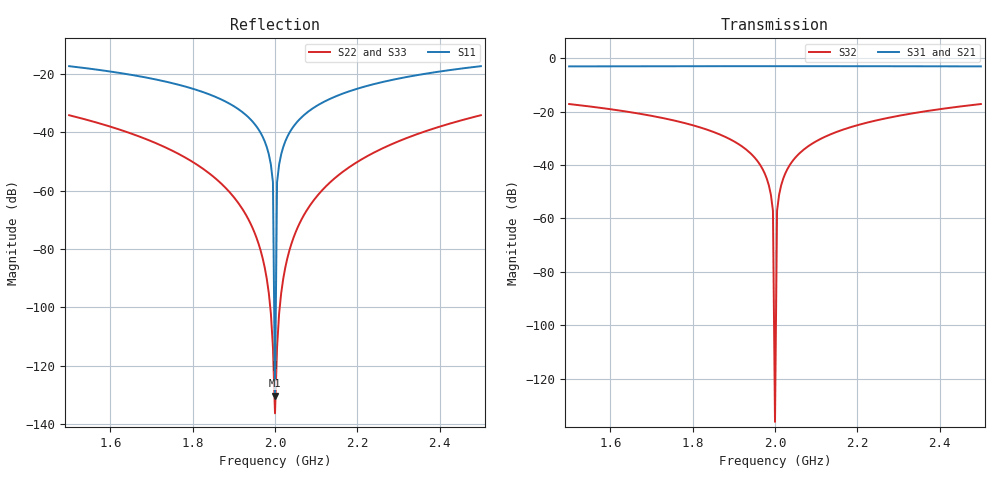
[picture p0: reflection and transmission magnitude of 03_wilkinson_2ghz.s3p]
! 03_wilkinson_2ghz
! 由 Base_AWR 中文版 · OpenRF Studio 生成（干净室实现）
# Hz S MA R 50
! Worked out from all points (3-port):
!   201 points, 1.5 GHz to 2.5 GHz, reference 50 ohm
!   strongest paths, dB at 1.5 GHz, 1.75 GHz, 2 GHz, 2.25 GHz, 2.5 GHz:
!     S31: -3.1, -3.0, -3.0, -3.0, -3.1
!     S21: -3.1, -3.0, -3.0, -3.0, -3.1
!     S32: -17.2, -23.2, -136.2, -23.2, -17.2
!   lowest |S11| = -130.2 dB at 2 GHz (marker M1), VSWR 1.00, Z = 50 + j0 ohm
!   |S11| at or under -10 dB: start of sweep to end of sweep
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1.5e9  0.1341 113.7  0.7007 -66.3  0.7007 -66.3
       0.7007 -66.3  0.01943 32.0  0.1382 -74.3
       0.7007 -66.3  0.1382 -74.3  0.01943 32.0
1.78e9  0.06067 100.5  0.7058 -79.5  0.7058 -79.5
        0.7058 -79.5  0.003737 14.0  0.06102 -83.0
        0.7058 -79.5  0.06102 -83.0  0.003737 14.0
1.93e9  0.01942 93.3  0.707 -86.7  0.707 -86.7
        0.707 -86.7  0.000378 4.5  0.01944 -87.8
        0.707 -86.7  0.01944 -87.8  0.000378 4.5
1.985e9  0.004165 90.7  0.7071 -89.3  0.7071 -89.3
         0.7071 -89.3  1.75e-05 1.0  0.004165 -89.5
         0.7071 -89.3  0.004165 -89.5  1.75e-05 1.0
1.995e9  0.001388 90.2  0.7071 -89.8  0.7071 -89.8
         0.7071 -89.8  2.082e-06 0.3  0.001388 -89.8
         0.7071 -89.8  0.001388 -89.8  2.082e-06 0.3
2e9  3.094e-07 -0.0  0.7071 -90.0  0.7071 -90.0
     0.7071 -90.0  1.547e-07 -0.0  1.547e-07 0.0
     0.7071 -90.0  1.547e-07 0.0  1.547e-07 -0.0
2.005e9  0.001388 -90.2  0.7071 -90.2  0.7071 -90.2
         0.7071 -90.2  2.082e-06 -0.3  0.001388 89.8
         0.7071 -90.2  0.001388 89.8  2.082e-06 -0.3
2.015e9  0.004165 -90.7  0.7071 -90.7  0.7071 -90.7
         0.7071 -90.7  1.75e-05 -1.0  0.004165 89.5
         0.7071 -90.7  0.004165 89.5  1.75e-05 -1.0
2.07e9  0.01942 -93.3  0.707 -93.3  0.707 -93.3
        0.707 -93.3  0.000378 -4.5  0.01944 87.8
        0.707 -93.3  0.01944 87.8  0.000378 -4.5
2.5e9  0.1341 -113.7  0.7007 -113.7  0.7007 -113.7
       0.7007 -113.7  0.01943 -32.0  0.1382 74.3
       0.7007 -113.7  0.1382 74.3  0.01943 -32.0
